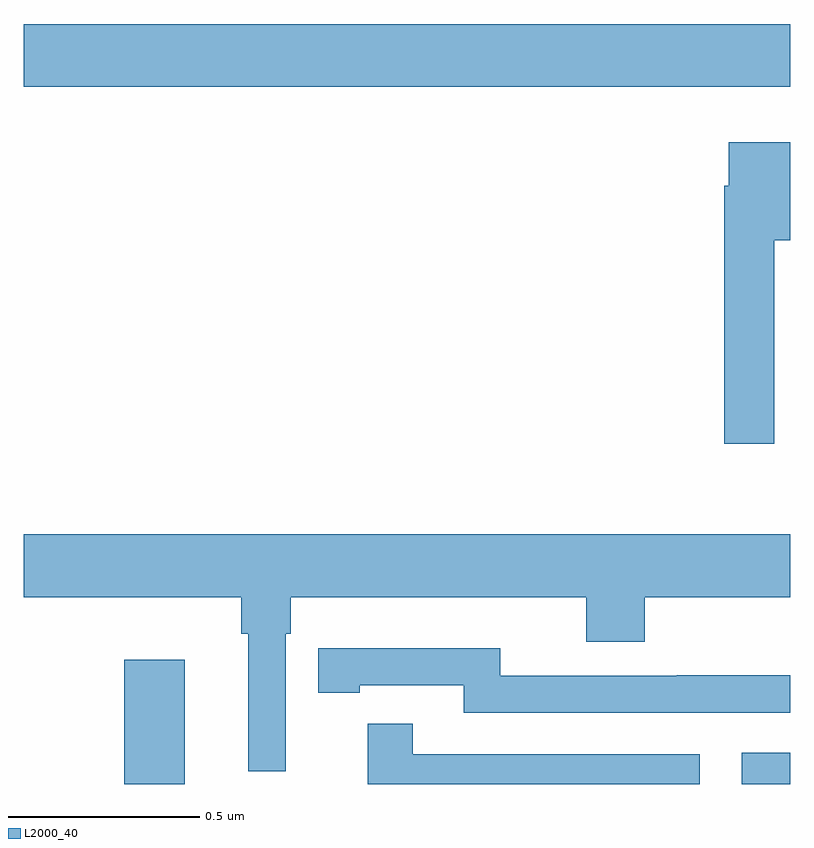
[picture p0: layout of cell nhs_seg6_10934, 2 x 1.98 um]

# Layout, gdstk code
import gdstk
lib = gdstk.Library(unit=1e-6, precision=1e-09)
def R(c, l, rs):  # rectangles x0, y0, x1, y1
    for r in rs: c.add(gdstk.rectangle(r[:2], r[2:], *l))
def P(c, l, *ps):  # polygons
    for p in ps: c.add(gdstk.Polygon(p, *l))
L2000_40 = (2000, 40)

nhs_seg6_10934 = lib.new_cell('nhs_seg6_10934')
R(nhs_seg6_10934, L2000_40, [(253.262,961.5,253.42,961.825), (254.874,961.5,255,961.582), (253,963.32,255,963.484)])
P(nhs_seg6_10934, L2000_40, [(254.959,962.919),(255,962.919),(255,963.175),(254.84,963.175),(254.84,963.062),(254.828,963.062),(254.828,962.388),(254.959,962.388)],
  [(253.683,961.892),(253.697,961.892),(253.697,961.988),(254.468,961.988),(254.468,961.871),(254.621,961.871),(254.621,961.988),(255,961.988),(255,962.152),(253,962.152),(253,961.988),(253.567,961.988),(253.567,961.892),(253.586,961.892),(253.586,961.533),(253.683,961.533)],
  [(255,961.784),(254.704,961.784),(254.704,961.782),(254.244,961.782),(254.244,961.855),(253.876,961.855),(253.876,961.854),(253.768,961.854),(253.768,961.738),(253.876,961.738),(253.876,961.758),(254.148,961.758),(254.148,961.686),(255,961.686)],
  [(254.764,961.578),(254.015,961.578),(254.015,961.657),(253.898,961.657),(253.898,961.5),(254.764,961.5)])

lib.write_gds('nhs_seg6_10934.gds')
